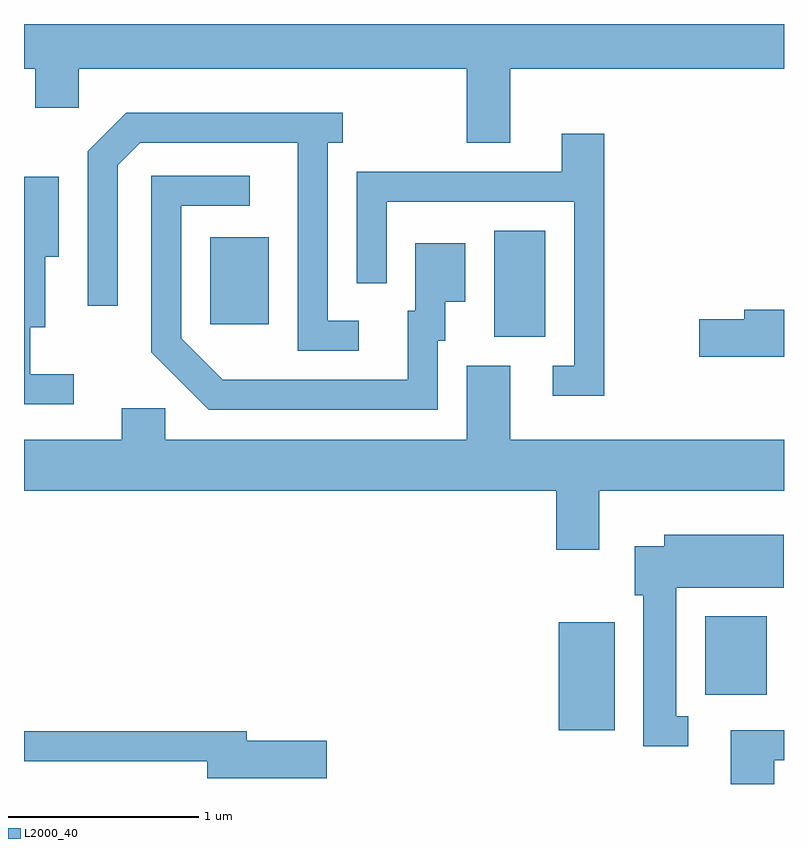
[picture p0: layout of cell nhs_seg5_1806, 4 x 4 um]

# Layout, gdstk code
import gdstk
lib = gdstk.Library(unit=1e-6, precision=1e-09)
def R(c, l, rs):  # rectangles x0, y0, x1, y1
    for r in rs: c.add(gdstk.rectangle(r[:2], r[2:], *l))
def P(c, l, *ps):  # polygons
    for p in ps: c.add(gdstk.Polygon(p, *l))
L2000_40 = (2000, 40)

nhs_seg5_1806 = lib.new_cell('nhs_seg5_1806')
R(nhs_seg5_1806, L2000_40, [(240.426,1524.356,240.719,1524.924), (241.196,1524.541,241.519,1524.954), (240.086,1526.426,240.354,1526.984), (238.591,1526.491,238.899,1526.949)])
P(nhs_seg5_1806, L2000_40, [(237.611,1527.836),(237.671,1527.836),(237.671,1527.631),(237.899,1527.631),(237.899,1527.836),(239.941,1527.836),(239.941,1527.446),(240.169,1527.446),(240.169,1527.836),(241.611,1527.836),(241.611,1528.072),(237.611,1528.072)],
  [(239.373,1526.509),(239.209,1526.509),(239.209,1527.446),(239.288,1527.446),(239.288,1527.604),(238.149,1527.604),(237.946,1527.402),(237.946,1526.588),(238.104,1526.588),(238.104,1527.329),(238.222,1527.446),(239.051,1527.446),(239.051,1526.351),(239.373,1526.351)],
  [(240.664,1527.494),(240.441,1527.494),(240.441,1527.294),(239.361,1527.294),(239.361,1526.708),(239.519,1526.708),(239.519,1527.136),(240.506,1527.136),(240.506,1526.274),(240.393,1526.274),(240.393,1526.116),(240.664,1526.116)],
  [(239.789,1526.406),(239.829,1526.406),(239.829,1526.611),(239.934,1526.611),(239.934,1526.919),(239.671,1526.919),(239.671,1526.564),(239.631,1526.564),(239.631,1526.199),(238.657,1526.199),(238.439,1526.417),(238.439,1527.116),(238.798,1527.116),(238.798,1527.274),(238.281,1527.274),(238.281,1526.344),(238.584,1526.041),(239.789,1526.041)],
  [(237.873,1526.229),(237.644,1526.229),(237.644,1526.476),(237.724,1526.476),(237.724,1526.846),(237.794,1526.846),(237.794,1527.269),(237.611,1527.269),(237.611,1526.071),(237.873,1526.071)],
  [(241.611,1526.569),(241.401,1526.569),(241.401,1526.519),(241.166,1526.519),(241.166,1526.321),(241.611,1526.321)],
  [(240.169,1526.274),(239.941,1526.274),(239.941,1525.884),(238.354,1525.884),(238.354,1526.049),(238.126,1526.049),(238.126,1525.884),(237.611,1525.884),(237.611,1525.616),(240.411,1525.616),(240.411,1525.306),(240.639,1525.306),(240.639,1525.616),(241.611,1525.616),(241.611,1525.884),(240.169,1525.884)],
  [(241.108,1524.429),(241.044,1524.429),(241.044,1525.106),(241.609,1525.106),(241.609,1525.384),(240.981,1525.384),(240.981,1525.324),(240.826,1525.324),(240.826,1525.066),(240.871,1525.066),(240.871,1524.271),(241.108,1524.271)],
  [(241.559,1524.196),(241.611,1524.196),(241.611,1524.354),(241.331,1524.354),(241.331,1524.072),(241.559,1524.072)],
  [(239.204,1524.299),(238.784,1524.299),(238.784,1524.349),(237.611,1524.349),(237.611,1524.191),(238.576,1524.191),(238.576,1524.101),(239.204,1524.101)])

lib.write_gds('nhs_seg5_1806.gds')
